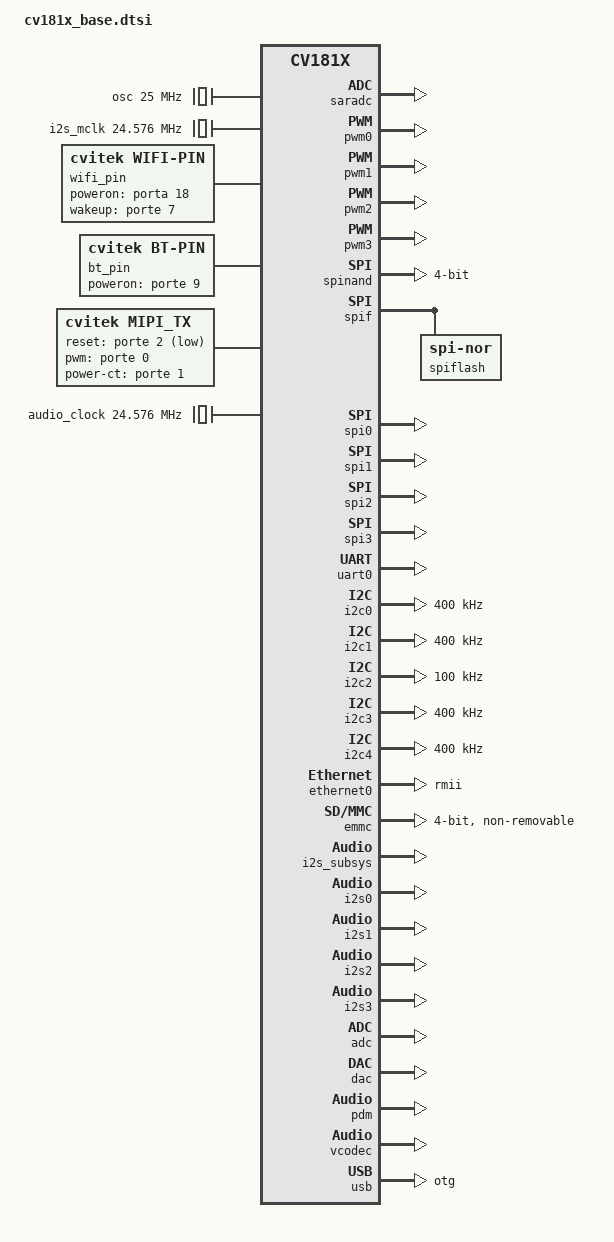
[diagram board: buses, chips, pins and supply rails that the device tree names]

/ {
	compatible = "cvitek,cv181x";

	#size-cells = <0x2>;
	#address-cells = <0x2>;

	top_misc:top_misc_ctrl@3000000 {
		compatible = "syscon";
		reg = <0x0 0x03000000 0x0 0x8000>;
	};

	clk_rst: clk-reset-controller {
		#reset-cells = <1>;
		compatible = "cvitek,clk-reset";
		reg = <0x0 0x03002000 0x0 0x8>;
	};

	osc: oscillator {
		#clock-cells = <0>;
		compatible = "fixed-clock";
		clock-frequency = <25000000>;
		clock-output-names = "osc";
	};

	clk: clock-controller {
		compatible = "cvitek,cv181x-clk";
		reg = <0x0 0x03002000 0x0 0x1000>;
		clocks = <&osc>;
		#clock-cells = <1>;
	};

	rst: reset-controller {
		#reset-cells = <1>;
		compatible = "cvitek,reset";
		reg = <0x0 0x03003000 0x0 0x10>;
	};

	restart: restart-controller {
		compatible = "cvitek,restart";
		reg = <0x0 0x05025000 0x0 0x2000>;
	};

	tpu {
		compatible = "cvitek,tpu";
		reg-names = "tdma", "tiu";
		reg = <0x0 0x0C100000 0x0 0x1000>,
			  <0x0 0x0C101000 0x0 0x1000>;
		clocks = <&clk CV181X_CLK_TPU>, <&clk CV181X_CLK_TPU_FAB>;
		clock-names = "clk_tpu_axi", "clk_tpu_fab";
		resets = <&rst RST_TDMA>, <&rst RST_TPU>, <&rst RST_TPUSYS>;
		reset-names = "res_tdma", "res_tpu", "res_tpusys";
	};

	mon {
		compatible = "cvitek,mon";
		reg-names = "pcmon", "ddr_ctrl", "ddr_phyd", "ddr_aximon", "ddr_top";
		reg = <0x0 0x01040000 0x0 0x1000>,
					<0x0 0x08004000 0x0 0x1000>,
					<0x0 0x08006000 0x0 0x1000>,
					<0x0 0x08008000 0x0 0x1000>,
					<0x0 0x0800A000 0x0 0x1000>;
	};

	wiegand0 {
		compatible = "cvitek,wiegand";
		reg-names = "wiegand";
		reg = <0x0 0x03030000 0x0 0x1000>;
		clocks = <&clk CV181X_CLK_WGN>, <&clk CV181X_CLK_WGN0>;
		clock-names = "clk_wgn", "clk_wgn1";
		resets = <&rst RST_WGN0>;
		reset-names = "res_wgn";
	};

	wiegand1 {
		compatible = "cvitek,wiegand";
		reg-names = "wiegand";
		reg = <0x0 0x03031000 0x0 0x1000>;
		clocks = <&clk CV181X_CLK_WGN>, <&clk CV181X_CLK_WGN1>;
		clock-names = "clk_wgn", "clk_wgn1";
		resets = <&rst RST_WGN1>;
		reset-names = "res_wgn";
	};

	wiegand2 {
		compatible = "cvitek,wiegand";
		reg-names = "wiegand";
		reg = <0x0 0x03032000 0x0 0x1000>;
		clocks = <&clk CV181X_CLK_WGN>, <&clk CV181X_CLK_WGN2>;
		clock-names = "clk_wgn", "clk_wgn1";
		resets = <&rst RST_WGN2>;
		reset-names = "res_wgn";
	};

	saradc {
		compatible = "cvitek,saradc";
		reg-names = "top_domain_saradc", "rtc_domain_saradc";
		reg = <0x0 0x030F0000 0x0 0x1000>, <0x0 0x0502c000 0x0 0x1000>;
		clocks = <&clk CV181X_CLK_SARADC>;
		clock-names = "clk_saradc";
		resets = <&rst RST_SARADC>;
		reset-names = "res_saradc";
	};

	rtc {
		compatible = "cvitek,rtc";
		reg = <0x0 0x05026000 0x0 0x1000>,<0x0 0x05025000 0x0 0x1000>;
		clocks = <&clk CV181X_CLK_RTC_25M>;
		clock-names = "clk_rtc";
	};

	cvitek-ion {
		compatible = "cvitek,cvitek-ion";

		heap_carveout@0 {
			compatible = "cvitek,carveout";
			memory-region = <&ion_reserved>;
		};
	};

	sysdma_remap {
		compatible = "cvitek,sysdma_remap";
		reg = <0x0 0x03000154 0x0 0x10>;
		ch-remap = <CVI_I2S0_RX CVI_I2S2_TX CVI_I2S1_RX CVI_I2S1_TX
					CVI_SPI_NAND CVI_SPI_NAND CVI_I2S2_RX CVI_I2S3_TX>;
		int_mux_base = <0x03000298>;
	};

	dmac: dma@0x4330000 {
		compatible = "snps,dmac-bm";
		reg = <0x0 0x04330000 0x0 0x1000>;
		clock-names = "clk_sdma_axi";
		clocks = <&clk CV181X_CLK_SDMA_AXI>;

		dma-channels = /bits/ 8 <8>;
		#dma-cells = <3>;
		dma-requests = /bits/ 8 <16>;
		chan_allocation_order = /bits/ 8 <0>;
		chan_priority = /bits/ 8 <1>;
		block_size = <1024>;
		dma-masters = /bits/ 8 <2>;
		data-width = <4 4>; /* bytes */
		axi_tr_width = <4>; /* bytes */
		block-ts = <15>;
	};


	watchdog0: cv-wd@0x3010000 {
		compatible = "snps,dw-wdt";
		reg = <0x0 0x03010000 0x0 0x1000>;
		resets = <&rst RST_WDT>;
		clocks = <&pclk>;
	};

	pwm0: pwm@3060000 {
		compatible = "cvitek,cvi-pwm";
		reg = <0x0 0x3060000 0x0 0x1000>;
		clocks = <&clk CV181X_CLK_PWM>;
		#pwm-cells = <1>;
	};

	pwm1: pwm@3061000 {
		compatible = "cvitek,cvi-pwm";
		reg = <0x0 0x3061000 0x0 0x1000>;
		clocks = <&clk CV181X_CLK_PWM>;
		#pwm-cells = <2>;
	};

	pwm2: pwm@3062000 {
		compatible = "cvitek,cvi-pwm";
		reg = <0x0 0x3062000 0x0 0x1000>;
		clocks = <&clk CV181X_CLK_PWM>;
		#pwm-cells = <3>;
	};

	pwm3: pwm@3063000 {
		compatible = "cvitek,cvi-pwm";
		reg = <0x0 0x3063000 0x0 0x1000>;
		clocks = <&clk CV181X_CLK_PWM>;
		#pwm-cells = <4>;
	};

	pclk: pclk {
		#clock-cells = <0>;
		compatible = "fixed-clock";
		clock-frequency = <25000000>;
	};

	spinand:cv-spinf@4060000 {
		compatible = "cvitek,cv1835-spinf";
		reg = <0x0 0x4060000 0x0 0x1000>;
		reg-names = "core_mem";
		bus-width = <4>;
		dmas = <&dmac 4 1 1
			&dmac 5 1 1>;
		dma-names = "rx","tx";
	};

	spif:cvi-spif@10000000 {
		compatible = "cvitek,cvi-spif";
		bus-num = <0>;
		reg = <0x0 0x10000000 0x0 0x10000000>;
		reg-names = "spif";
		sck-div = <3>;
		sck_mhz = <300>;
		spi-max-frequency = <75000000>;
		spiflash {
			compatible = "jedec,spi-nor";
			spi-rx-bus-width = <4>;
			spi-tx-bus-width = <4>;
		};
	};

	spi0:spi0@04180000 {
		compatible = "snps,dw-apb-ssi";
		reg = <0x0 0x04180000 0x0 0x10000>;
		clocks = <&clk CV181X_CLK_SPI>;
		#address-cells = <1>;
		#size-cells = <0>;
	};

	spi1:spi1@04190000 {
		compatible = "snps,dw-apb-ssi";
		reg = <0x0 0x04190000 0x0 0x10000>;
		clocks = <&clk CV181X_CLK_SPI>;
		#address-cells = <1>;
		#size-cells = <0>;
	};

	spi2:spi2@041A0000 {
		compatible = "snps,dw-apb-ssi";
		reg = <0x0 0x041A0000 0x0 0x10000>;
		clocks = <&clk CV181X_CLK_SPI>;
		#address-cells = <1>;
		#size-cells = <0>;
	};

	spi3:spi3@041B0000 {
		compatible = "snps,dw-apb-ssi";
		reg = <0x0 0x041B0000 0x0 0x10000>;
		clocks = <&clk CV181X_CLK_SPI>;
		#address-cells = <1>;
		#size-cells = <0>;
#if 0
		dmas = <&dmac 2 1 1
			&dmac 3 1 1>;
		dma-names = "rx", "tx";
		capability = "txrx";
#endif
	};

	uart0: serial@04140000 {
		compatible = "snps,dw-apb-uart";
		reg = <0x0 0x04140000 0x0 0x1000>;
		clock-frequency = <25000000>;
		reg-shift = <2>;
		reg-io-width = <4>;
		status = "okay";
	};

	uart1: serial@04150000 {
		compatible = "snps,dw-apb-uart";
		reg = <0x0 0x04150000 0x0 0x1000>;
		clock-frequency = <25000000>;
		reg-shift = <2>;
		reg-io-width = <4>;
		status = "disabled";
	};

	uart2: serial@04160000 {
		compatible = "snps,dw-apb-uart";
		reg = <0x0 0x04160000 0x0 0x1000>;
		clock-frequency = <25000000>;
		reg-shift = <2>;
		reg-io-width = <4>;
		status = "disabled";
	};

	uart3: serial@04170000 {
		compatible = "snps,dw-apb-uart";
		reg = <0x0 0x04170000 0x0 0x1000>;
		clock-frequency = <25000000>;
		reg-shift = <2>;
		reg-io-width = <4>;
		status = "disabled";
	};

	uart4: serial@041C0000 {
		compatible = "snps,dw-apb-uart";
		reg = <0x0 0x041C0000 0x0 0x1000>;
		clock-frequency = <25000000>;
		reg-shift = <2>;
		reg-io-width = <4>;
		status = "disabled";
	};

	gpio0: gpio@03020000 {
		compatible = "snps,dw-apb-gpio";
		reg = <0x0 0x03020000 0x0 0x1000>;
		#address-cells = <1>;
		#size-cells = <0>;

		porta: gpio-controller@0 {
			compatible = "snps,dw-apb-gpio-port";
			bank-name = "porta";
			gpio-controller;
			#gpio-cells = <2>;
			snps,nr-gpios = <32>;
			reg = <0>;
		};
	};

	gpio1: gpio@03021000 {
		compatible = "snps,dw-apb-gpio";
		reg = <0x0 0x03021000 0x0 0x1000>;
		#address-cells = <1>;
		#size-cells = <0>;

		portb: gpio-controller@1 {
			compatible = "snps,dw-apb-gpio-port";
			bank-name = "portb";
			gpio-controller;
			#gpio-cells = <2>;
			snps,nr-gpios = <32>;
			reg = <0>;
		};
	};

	gpio2: gpio@03022000 {
		compatible = "snps,dw-apb-gpio";
		reg = <0x0 0x03022000 0x0 0x1000>;
		#address-cells = <1>;
		#size-cells = <0>;

		portc: gpio-controller@2 {
			compatible = "snps,dw-apb-gpio-port";
			bank-name = "portc";
			gpio-controller;
			#gpio-cells = <2>;
			snps,nr-gpios = <32>;
			reg = <0>;
		};
	};

	gpio3: gpio@03023000 {
		compatible = "snps,dw-apb-gpio";
		reg = <0x0 0x03023000 0x0 0x1000>;
		#address-cells = <1>;
		#size-cells = <0>;

		portd: gpio-controller@3 {
			compatible = "snps,dw-apb-gpio-port";
			bank-name = "portd";
			gpio-controller;
			#gpio-cells = <2>;
			snps,nr-gpios = <32>;
			reg = <0>;
		};
	};

	gpio4: gpio@05021000 {
		compatible = "snps,dw-apb-gpio";
		reg = <0x0 0x05021000 0x0 0x1000>;
		#address-cells = <1>;
		#size-cells = <0>;

		porte: gpio-controller@4 {
			compatible = "snps,dw-apb-gpio-port";
			bank-name = "porte";
			gpio-controller;
			#gpio-cells = <2>;
			snps,nr-gpios = <32>;
			reg = <0>;
		};
	};

	i2c0: i2c@04000000 {
		compatible = "snps,designware-i2c";
		clocks = <&clk CV181X_CLK_I2C>;
		reg = <0x0 0x04000000 0x0 0x1000>;
		clock-frequency = <400000>;

		#size-cells = <0x0>;
		#address-cells = <0x1>;
		resets = <&rst RST_I2C0>;
		reset-names = "i2c0";
	};

	i2c1: i2c@04010000 {
		compatible = "snps,designware-i2c";
		clocks = <&clk CV181X_CLK_I2C>;
		reg = <0x0 0x04010000 0x0 0x1000>;
		clock-frequency = <400000>;

		#size-cells = <0x0>;
		#address-cells = <0x1>;
		resets = <&rst RST_I2C1>;
		reset-names = "i2c1";
	};

	i2c2: i2c@04020000 {
		compatible = "snps,designware-i2c";
		clocks = <&clk CV181X_CLK_I2C>;
		reg = <0x0 0x04020000 0x0 0x1000>;
		clock-frequency = <100000>;
		resets = <&rst RST_I2C2>;
		reset-names = "i2c2";
	};

	i2c3: i2c@04030000 {
		compatible = "snps,designware-i2c";
		clocks = <&clk CV181X_CLK_I2C>;
		reg = <0x0 0x04030000 0x0 0x1000>;
		clock-frequency = <400000>;
		resets = <&rst RST_I2C3>;
		reset-names = "i2c3";
	};

	i2c4: i2c@04040000 {
		compatible = "snps,designware-i2c";
		clocks = <&clk CV181X_CLK_I2C>;
		reg = <0x0 0x04040000 0x0 0x1000>;
		clock-frequency = <400000>;
		resets = <&rst RST_I2C4>;
		reset-names = "i2c4";
	};

	eth_csrclk: eth_csrclk {
		clock-output-names = "eth_csrclk";
		clock-frequency = <250000000>;
		#clock-cells = <0x0>;
		compatible = "fixed-clock";
	};

	eth_ptpclk: eth_ptpclk {
		clock-output-names = "eth_ptpclk";
		clock-frequency = <50000000>;
		#clock-cells = <0x0>;
		compatible = "fixed-clock";
	};

	stmmac_axi_setup: stmmac-axi-config {
		snps,wr_osr_lmt = <1>;
		snps,rd_osr_lmt = <2>;
		snps,blen = <4 8 16 0 0 0 0>;
	};

	mtl_rx_setup: rx-queues-config {
		snps,rx-queues-to-use = <1>;
		queue0 {};
	};

	mtl_tx_setup: tx-queues-config {
		snps,tx-queues-to-use = <1>;
		queue0 {};
	};

	ethernet0: ethernet@4070000 {
		compatible = "cvitek,ethernet";
		reg = <0x0 0x04070000 0x0 0x10000>;
		clock-names = "stmmaceth", "ptp_ref";
		clocks = <&eth_csrclk>, <&eth_ptpclk>;
		//phy-reset-gpios = <&porta 26 0>;

		tx-fifo-depth = <8192>;
		rx-fifo-depth = <8192>;
		/* no hash filter and perfect filter support */
		snps,multicast-filter-bins = <0>;
		snps,perfect-filter-entries = <1>;

		snps,txpbl = <8>;
		snps,rxpbl = <8>;
		snps,aal;

		snps,axi-config = <&stmmac_axi_setup>;
		snps,mtl-rx-config = <&mtl_rx_setup>;
		snps,mtl-tx-config = <&mtl_tx_setup>;

		phy-mode = "rmii";
	};

	emmc:cv-emmc@4300000 {
		compatible = "cvitek,cv181x-emmc";
		reg = <0x0 0x4300000 0x0 0x1000>;
		reg-names = "core_mem";
		bus-width = <4>;
		non-removable;
		no-sdio;
		no-sd;
		src-frequency = <375000000>;
		min-frequency = <400000>;
		max-frequency = <200000000>;
		64_addressing;
		reset_tx_rx_phy;
		pll_index = <0x5>;
		pll_reg = <0x3002064>;
	};

	sd:cv-sd@4310000 {
		compatible = "cvitek,cv181x-sd";
		reg = <0x0 0x4310000 0x0 0x1000>;
		reg-names = "core_mem";
		bus-width = <4>;
		cap-sd-highspeed;
		cap-mmc-highspeed;
		sd-uhs-sdr12;
		sd-uhs-sdr25;
		sd-uhs-sdr50;
		sd-uhs-sdr104;
		no-sdio;
		no-mmc;
		/*no-1-8-v;*/
		src-frequency = <375000000>;
		min-frequency = <400000>;
		max-frequency = <200000000>;
		64_addressing;
		reset_tx_rx_phy;
		reset-names = "sdhci";
		pll_index = <0x6>;
		pll_reg = <0x3002070>;
		cvi-cd-gpios = <&porta 13 GPIO_ACTIVE_LOW>;
	};

	wifisd:wifi-sd@4320000 {
		compatible = "cvitek,cv181x-sdio";
		bus-width = <4>;
		reg = <0x0 0x4320000 0x0 0x1000>;
		reg_names = "core_mem";
		src-frequency = <375000000>;
		min-frequency = <400000>;
		max-frequency = <50000000>;
		64_addressing;
		reset_tx_rx_phy;
		non-removable;
		pll_index = <0x7>;
		pll_reg = <0x300207C>;
		no-mmc;
		no-sd;
		status = "disabled";
	};

	i2s_mclk: i2s_mclk {
		clock-output-names = "i2s_mclk";
		clock-frequency = <24576000>;
		#clock-cells = <0x0>;
		compatible = "fixed-clock";
	};

	i2s_subsys {
		compatible = "cvitek,i2s_tdm_subsys";
		reg = <0x0 0x04108000 0x0 0x100>;
		clocks = <&i2s_mclk>, <&clk CV181X_CLK_A0PLL>,
			<&clk CV181X_CLK_SDMA_AUD0>, <&clk CV181X_CLK_SDMA_AUD1>,
			<&clk CV181X_CLK_SDMA_AUD2>, <&clk CV181X_CLK_SDMA_AUD3>;
		clock-names = "i2sclk", "clk_a0pll",
			"clk_sdma_aud0", "clk_sdma_aud1",
			"clk_sdma_aud2", "clk_sdma_aud3";
		master_base = <0x04110000>; /* I2S1 is master, only useful while using multi I2S IPs work on same IO */
	};

	i2s0: i2s@04100000 {
		compatible = "cvitek,cv1835-i2s";
		reg = <0x0 0x04100000 0x0 0x2000>;
		clocks = <&i2s_mclk 0>;
		clock-names = "i2sclk";
		dev-id = <0>;
		#sound-dai-cells = <0>;
		dmas = <&dmac 0 1 1>; /* read channel */
		dma-names = "rx";
		capability = "rx"; /* I2S0 connect to internal ADC as RX */
		mclk_out = "false";
	};

	i2s1: i2s@04110000 {
		compatible = "cvitek,cv1835-i2s";
		reg = <0x0 0x04110000 0x0 0x2000>;
		clocks = <&i2s_mclk 0>;
		clock-names = "i2sclk";
		dev-id = <1>;
		#sound-dai-cells = <0>;
		dmas = <&dmac 2 1 1 /* read channel */
			&dmac 3 1 1>; /* write channel */
		dma-names = "rx", "tx";
		capability = "txrx";
		mclk_out = "false";
	};

	i2s2: i2s@04120000 {
		compatible = "cvitek,cv1835-i2s";
		reg = <0x0 0x04120000 0x0 0x2000>;
		clocks = <&i2s_mclk 0>;
		clock-names = "i2sclk";
		dev-id = <2>;
		#sound-dai-cells = <0>;
		dmas = <&dmac 6 1 1 /* read channel */
			&dmac 1 1 1>; /* write channel */
		dma-names = "rx", "tx";
		capability = "txrx";
		mclk_out = "false";

	};

	i2s3: i2s@04130000 {
		compatible = "cvitek,cv1835-i2s";
		reg = <0x0 0x04130000 0x0 0x2000>;
		clocks = <&i2s_mclk 0>;
		clock-names = "i2sclk";
		dev-id = <3>;
		#sound-dai-cells = <0>;
		dmas = <&dmac 7 1 1>; /* write channel */
		dma-names = "tx";
		capability = "tx"; /* I2S3 connect to internal DAC as TX */
		mclk_out = "true";
	};

	adc: adc@0300A100 {
		compatible = "cvitek,cv182xaadc";
		reg = <0x0 0x0300A100 0x0 0x100>;
		clocks = <&i2s_mclk 0>;
		clock-names = "i2sclk";
		clk_source = <0x04130000>; /* MCLK source is I2S3 */
	};

	dac: dac@0300A000 {
		compatible = "cvitek,cv182xadac";
		reg = <0x0 0x0300A000 0x0 0x100>;
		clocks = <&i2s_mclk 0>;
		clock-names = "i2sclk";
	};

	pdm: pdm@0x041D0C00 {
		compatible = "cvitek,cv1835pdm";
		reg = <0x0 0x041D0C00 0x0 0x100>;
		clocks = <&i2s_mclk 0>;
		clock-names = "i2sclk";
	};

	sound_adc {
		compatible = "cvitek,cv182xa-adc";
		cvi,model = "CV182XA";
		cvi,card_name = "cv182xa_adc";
	};

	sound_dac {
		compatible = "cvitek,cv182xa-dac";
		cvi,model = "CV182XA";
		cvi,card_name = "cv182xa_dac";
	};

	sound_PDM {
		compatible = "cvitek,cv182x-pdm";
		cvi,model = "CV182X";
		cvi,card_name = "cv182x_internal_PDM";
	};

	wifi_pin {
		compatible = "cvitek,wifi-pin";
		poweron-gpio = <&porta 18 GPIO_ACTIVE_HIGH>;
		wakeup-gpio = <&porte 7 GPIO_ACTIVE_HIGH>;
	};

	bt_pin {
		compatible = "cvitek,bt-pin";
		poweron-gpio = <&porte 9 GPIO_ACTIVE_HIGH>;
	};

	mipi_rx: cif {
		compatible = "cvitek,cif";
		reg = <0x0 0x0a0c2000 0x0 0x2000>, <0x0 0x0a0d0000 0x0 0x1000>,
		      <0x0 0x0a0c4000 0x0 0x2000>, <0x0 0x0a0c6000 0x0 0x2000>,
		      <0x0 0x03001c30 0x0 0x30>;
		reg-names = "csi_mac0", "csi_wrap0", "csi_mac1", "csi_mac2", "pad_ctrl";
		snsr-reset = <&porta 2 GPIO_ACTIVE_LOW>, <&porta 2 GPIO_ACTIVE_LOW>, <&porta 2 GPIO_ACTIVE_LOW>;
		resets = <&rst RST_CSIPHY0>, <&rst RST_CSIPHY1>,
			<&rst RST_CSIPHY0RST_APB>, <&rst RST_CSIPHY1RST_APB>;
		reset-names = "phy0", "phy1", "phy-apb0", "phy-apb1";
		clocks = <&clk CV181X_CLK_CAM0>, <&clk CV181X_CLK_CAM1>, <&clk CV181X_CLK_SRC_VIP_SYS_2>,
			 <&clk CV181X_CLK_MIPIMPLL>, <&clk CV181X_CLK_DISPPLL>, <&clk CV181X_CLK_FPLL>;
		clock-names = "clk_cam0", "clk_cam1", "clk_sys_2",
			      "clk_mipimpll", "clk_disppll", "clk_fpll";
	};

	mipi_tx: mipi_tx {
		compatible = "cvitek,mipi_tx";
		reset-gpio = <&porte 2 GPIO_ACTIVE_LOW>;
		pwm-gpio = <&porte 0 GPIO_ACTIVE_HIGH>;
		power-ct-gpio = <&porte 1 GPIO_ACTIVE_HIGH>;
		clocks = <&clk CV181X_CLK_DISP_VIP>, <&clk CV181X_CLK_DSI_MAC_VIP>;
		clock-names = "clk_disp", "clk_dsi";
	};

	sys {
		compatible = "cvitek,sys";
	};

	base {
		compatible = "cvitek,base";
		reg = <0x0 0x0a0c8000 0x0 0x20>;
		reg-names = "vip_sys";
	};

	vi {
		compatible = "cvitek,vi";
		reg = <0x0 0x0a000000 0x0 0x80000>;
		clocks = <&clk CV181X_CLK_SRC_VIP_SYS_0>, <&clk CV181X_CLK_SRC_VIP_SYS_1>,
				<&clk CV181X_CLK_SRC_VIP_SYS_2>, <&clk CV181X_CLK_SRC_VIP_SYS_3>,
				<&clk CV181X_CLK_AXI_VIP>, <&clk CV181X_CLK_CSI_BE_VIP>,
				<&clk CV181X_CLK_RAW_VIP>, <&clk CV181X_CLK_ISP_TOP_VIP>,
				<&clk CV181X_CLK_CSI_MAC0_VIP>, <&clk CV181X_CLK_CSI_MAC1_VIP>,
				<&clk CV181X_CLK_CSI_MAC2_VIP>;
		clock-names = "clk_sys_0", "clk_sys_1", "clk_sys_2", "clk_sys_3",
					"clk_axi", "clk_csi_be", "clk_raw", "clk_isp_top",
					"clk_csi_mac0", "clk_csi_mac1", "clk_csi_mac2";
		clock-freq-vip-sys1 = <300000000>;
	};

	vpss {
		compatible = "cvitek,vpss";
		reg = <0x0 0x0a080000 0x0 0x10000>, <0x0 0x0a0d1000 0x0 0x100>;
		reg-names = "sc";
		clocks = <&clk CV181X_CLK_SRC_VIP_SYS_0>,	<&clk CV181X_CLK_SRC_VIP_SYS_1>,
			<&clk CV181X_CLK_SRC_VIP_SYS_2>, <&clk CV181X_CLK_IMG_D_VIP>,
			<&clk CV181X_CLK_IMG_V_VIP>, <&clk CV181X_CLK_SC_TOP_VIP>,
			<&clk CV181X_CLK_SC_D_VIP>, <&clk CV181X_CLK_SC_V1_VIP>,
			<&clk CV181X_CLK_SC_V2_VIP>, <&clk CV181X_CLK_SC_V3_VIP>;
		clock-names = "clk_sys_0", "clk_sys_1",
			"clk_sys_2", "clk_img_d",
			"clk_img_v", "clk_sc_top",
			"clk_sc_d", "clk_sc_v1",
			"clk_sc_v2", "clk_sc_v3";
		clock-freq-vip-sys1 = <300000000>;
	};

	ive {
		compatible = "cvitek,ive";
		reg = <0x0 0x0A0A0000 0x0 0x3100>;
		reg-names = "ive_base";
	};

	vo:vo {
		compatible = "cvitek,vo";
		reg = <0x0 0x0a080000 0x0 0x10000>, <0x0 0x0a0c8000 0x0 0xa0>, <0x0 0x0a0d1000 0x0 0x100>;
		reg-names = "sc", "vip_sys", "dphy";
		clocks = <&clk CV181X_CLK_DISP_VIP>, <&clk CV181X_CLK_DSI_MAC_VIP>, <&clk CV181X_CLK_BT_VIP>;
		reset-gpio = <&porte 2 GPIO_ACTIVE_LOW>;
		pwm-gpio = <&porte 0 GPIO_ACTIVE_HIGH>;
		power-ct-gpio = <&porte 1 GPIO_ACTIVE_HIGH>;
		clock-names = "clk_disp", "clk_dsi", "clk_bt";
	};

#if (CVIMMAP_FRAMEBUFFER_SIZE > 0)
	reserved-memory {
	  #size-cells = <0x2>;
	  #address-cells = <0x2>;
	  ranges;

		fb_reserved: cvifb {
			alloc-ranges = <0x0 CVIMMAP_FRAMEBUFFER_ADDR 0 CVIMMAP_FRAMEBUFFER_SIZE>;
			size = <0x0 CVIMMAP_FRAMEBUFFER_SIZE>;
		};
	};

	cvifb {
		compatible = "cvitek,fb";
		memory-region = <&fb_reserved>;
		reg = <0x0 0x0a088000 0x0 0x1000>;
		reg-names = "disp";
	};
#endif
	dwa {
		compatible = "cvitek,dwa";
		reg = <0x0 0x0a0c0000 0x0 0x1000>;
		reg-names = "dwa";
		clocks = <&clk CV181X_CLK_SRC_VIP_SYS_0>, <&clk CV181X_CLK_SRC_VIP_SYS_1>,
			<&clk CV181X_CLK_SRC_VIP_SYS_2>, <&clk CV181X_CLK_SRC_VIP_SYS_3>,
			<&clk CV181X_CLK_SRC_VIP_SYS_4>, <&clk CV181X_CLK_DWA_VIP>;
		clock-names = "clk_sys_0", "clk_sys_1",
			"clk_sys_2", "clk_sys_3",
			"clk_sys_4", "clk_dwa";
		clock-freq-vip-sys1 = <300000000>;
	};

	rgn {
		compatible = "cvitek,rgn";
	};

	vcodec {
		compatible = "cvitek,asic-vcodec";
		reg = <0x0 0x0B020000 0x0 0x10000>,<0x0 0x0B010000 0x0 0x10000>,<0x0 0x0B030000 0x0 0x100>,
		      <0x0 0x0B058000 0x0 0x100>,<0x0 0x0B050000 0x0 0x400>;
		reg-names = "h265","h264","vc_ctrl","vc_sbm","vc_addr_remap";
		clocks = <&clk CV181X_CLK_AXI_VIDEO_CODEC>,
			<&clk CV181X_CLK_H264C>, <&clk CV181X_CLK_APB_H264C>,
			<&clk CV181X_CLK_H265C>, <&clk CV181X_CLK_APB_H265C>,
			<&clk CV181X_CLK_VC_SRC0>, <&clk CV181X_CLK_VC_SRC1>,
			<&clk CV181X_CLK_VC_SRC2>, <&clk CV181X_CLK_CFG_REG_VC>;
		clock-names = "clk_axi_video_codec",
			"clk_h264c", "clk_apb_h264c",
			"clk_h265c", "clk_apb_h265c",
			"clk_vc_src0", "clk_vc_src1",
			"clk_vc_src2", "clk_cfg_reg_vc";
	};

	jpu {
		compatible = "cvitek,asic-jpeg";
		reg = <0x0 0x0B000000 0x0 0x300>,<0x0 0x0B030000 0x0 0x100>,<0x0 0x0B058000 0x0 0x100>;
		reg-names = "jpeg","vc_ctrl","vc_sbm";
		clocks = <&clk CV181X_CLK_AXI_VIDEO_CODEC>,
			<&clk CV181X_CLK_JPEG>, <&clk CV181X_CLK_APB_JPEG>,
			<&clk CV181X_CLK_VC_SRC0>, <&clk CV181X_CLK_VC_SRC1>,
			<&clk CV181X_CLK_VC_SRC2>, <&clk CV181X_CLK_CFG_REG_VC>;
		clock-names = "clk_axi_video_codec",
			"clk_jpeg", "clk_apb_jpeg",
			"clk_vc_src0", "clk_vc_src1",
			"clk_vc_src2", "clk_cfg_reg_vc";
		resets = <&rst RST_JPEG>;
		reset-names = "jpeg";
	};

	cvi_vc_drv {
		compatible = "cvitek,cvi_vc_drv";
		reg = <0x0 0x0B030000 0x0 0x100>,<0x0 0x0B058000 0x0 0x100>,<0x0 0x0B050000 0x0 0x400>;
		reg-names = "vc_ctrl","vc_sbm","vc_addr_remap";
	};

	rtos_cmdqu {
		compatible = "cvitek,rtos_cmdqu";
		reg = <0x0 0x01900000 0x0 0x1000>;
		reg-names = "mailbox";
	};

	usb: usb@04340000 {
		compatible = "cvitek,cv182x-usb";
		reg = <0x0 0x04340000 0x0 0x10000>,
			<0x0 0x03006000 0x0 0x58>;	//USB 2.0 PHY
		dr_mode = "otg";
		g-use-dma;
		g-rx-fifo-size = <536>;
		g-np-tx-fifo-size = <32>;
		g-tx-fifo-size = <768 512 512 384 128 128>;
		clocks = <&clk CV181X_CLK_AXI4_USB>,
				<&clk CV181X_CLK_APB_USB>,
				<&clk CV181X_CLK_125M_USB>,
				<&clk CV181X_CLK_33K_USB>,
				<&clk CV181X_CLK_12M_USB>;
		clock-names = "clk_axi", "clk_apb", "clk_125m", "clk_33k", "clk_12m";
		vbus-gpio = <&portb 6 0>;
		status = "okay";
	};

	thermal:thermal@030E0000 {
		compatible = "cvitek,cv181x-thermal";
		reg = <0x0 0x030E0000 0x0 0x10000>;
		clocks = <&clk CV181X_CLK_TEMPSEN>;
		clock-names = "clk_tempsen";
		reset-names = "tempsen";
		#thermal-sensor-cells = <1>;
	};

	thermal-zones {
		soc_thermal_0: soc_thermal_0 {
			polling-delay-passive = <1000>; /* milliseconds */
			polling-delay = <1000>; /* milliseconds */
			thermal-sensors = <&thermal 0>;

			trips {
				soc_thermal_trip_0: soc_thermal_trip_0 {
					temperature = <100000>; /* millicelsius */
					hysteresis = <5000>; /* millicelsius */
					type = "passive";
				};

				soc_thermal_trip_1: soc_thermal_trip_1 {
					temperature = <110000>; /* millicelsius */
					hysteresis = <5000>; /* millicelsius */
					type = "passive";
				};

				soc_thermal_crtical_0: soc_thermal_crtical_0 {
					temperature = <130000>; /* millicelsius */
					hysteresis = <0>; /* millicelsius */
					type = "critical";
				};
			};
		};
	};

#if 0
	cvipctrl: pinctrl@3001000 {
		compatible = "cvitek,pinctrl-cv182x";
		reg = <0 0x03001000 0 0x1000>;
	};
#endif

	cviaudio_core {
		compatible = "cvitek,audio";
	};

	audio_clock: audio_clock {
		compatible = "fixed-clock";
		#clock-cells = <0>;
#if 0
		clock-frequency = <12288000>;
#else
		clock-frequency = <24576000>;
#endif
		};


	aliases {
		i2c0 = &i2c0;
		i2c1 = &i2c1;
		i2c2 = &i2c2;
		i2c3 = &i2c3;
		i2c4 = &i2c4;
		//spi0 = &spi0;
		//spi1 = &spi1;
		//spi2 = &spi2;
		//spi3 = &spi3;
		serial0 = &uart0;
		serial1 = &uart1;
		serial2 = &uart2;
		serial3 = &uart3;
		serial4 = &uart4;
		ethernet0 = &ethernet0;
	};

	chosen {
		stdout-path = "serial0";
	};
};

